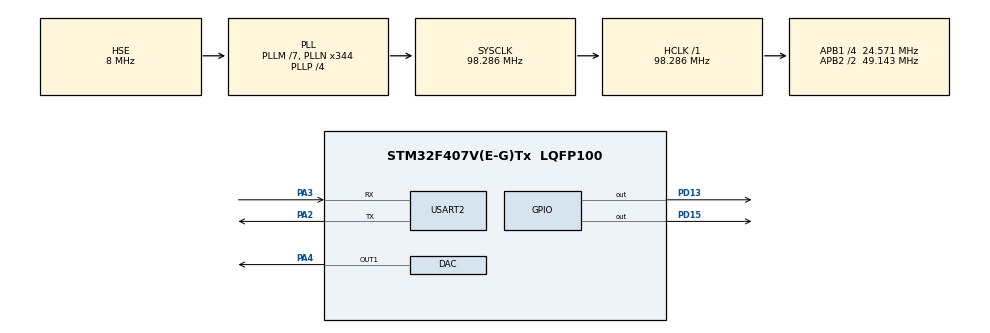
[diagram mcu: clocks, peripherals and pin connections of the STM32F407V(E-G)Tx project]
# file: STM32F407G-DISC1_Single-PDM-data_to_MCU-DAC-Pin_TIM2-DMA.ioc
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DAC.DAC_Trigger=DAC_TRIGGER_T6_TRGO
Dma.DAC1.0.Direction=DMA_MEMORY_TO_PERIPH
Dma.DAC1.0.FIFOMode=DMA_FIFOMODE_DISABLE
Dma.DAC1.0.Instance=DMA1_Stream5
Dma.DAC1.0.MemDataAlignment=DMA_MDATAALIGN_HALFWORD
Dma.DAC1.0.MemInc=DMA_MINC_ENABLE
Dma.DAC1.0.Mode=DMA_CIRCULAR
Dma.DAC1.0.PeriphDataAlignment=DMA_PDATAALIGN_HALFWORD
Dma.DAC1.0.PeriphInc=DMA_PINC_DISABLE
Dma.DAC1.0.Priority=DMA_PRIORITY_MEDIUM
Dma.Request0=DAC1
Mcu.Family=STM32F4
Mcu.Name=STM32F407V(E-G)Tx
Mcu.Package=LQFP100
NVIC.DMA1_Stream5_IRQn=true\:0\:0\:false\:false\:true\:false\:true\:true
NVIC.PriorityGroup=NVIC_PRIORITYGROUP_0
NVIC.TIM2_IRQn=true\:0\:0\:false\:false\:true\:true\:true\:true
NVIC.TIM6_DAC_IRQn=true\:0\:0\:false\:false\:true\:true\:true\:true
NVIC.TIM7_IRQn=true\:0\:0\:false\:false\:true\:true\:true\:true
PA13.Mode=Trace_Asynchronous_SW
PA13.Signal=SYS_JTMS-SWDIO
PA14.Mode=Trace_Asynchronous_SW
PA14.Signal=SYS_JTCK-SWCLK
PA2.Mode=Asynchronous
PA2.Signal=USART2_TX
PA3.Mode=Asynchronous
PA3.Signal=USART2_RX
PA4.Signal=COMP_DAC1_group
PA5.GPIO_Speed=GPIO_SPEED_FREQ_LOW
PA5.Signal=SPI1_SCK
PB10.GPIO_Speed=GPIO_SPEED_FREQ_LOW
PB10.Signal=SPI2_SCK
PB15.GPIO_Speed=GPIO_SPEED_FREQ_LOW
PB15.Signal=SPI2_MOSI
PB3.Mode=Trace_Asynchronous_SW
PB3.Signal=SYS_JTDO-SWO
PB4.GPIO_Speed=GPIO_SPEED_FREQ_LOW
PB4.Signal=SPI1_MISO
PB5.GPIO_Speed=GPIO_SPEED_FREQ_LOW
PB5.Signal=SPI1_MOSI
PD13.Signal=GPIO_Output
PD15.Signal=GPIO_Output
PDM2PCM.CHANNEL1_in_ptr_channels=1
PDM2PCM.CHANNEL1_out_ptr_channels=1
PDM2PCM.CHANNEL1_output_samples_number=250
PH0-OSC_IN.Mode=HSE-External-Oscillator
PH0-OSC_IN.Signal=RCC_OSC_IN
PH1-OSC_OUT.Mode=HSE-External-Oscillator
PH1-OSC_OUT.Signal=RCC_OSC_OUT
ProjectManager.HeapSize=0x200
ProjectManager.StackSize=0x400
ProjectManager.TargetToolchain=STM32CubeIDE
RCC.48MHZClocksFreq_Value=56163265.30612246
RCC.AHBFreq_Value=98285714.2857143
RCC.APB1CLKDivider=RCC_HCLK_DIV4
RCC.APB1Freq_Value=24571428.571428575
RCC.APB1TimFreq_Value=49142857.14285715
RCC.APB2CLKDivider=RCC_HCLK_DIV2
RCC.APB2Freq_Value=49142857.14285715
RCC.APB2TimFreq_Value=98285714.2857143
RCC.CortexFreq_Value=98285714.2857143
RCC.HCLKFreq_Value=98285714.2857143
RCC.HSE_VALUE=8000000
RCC.HSI_VALUE=16000000
RCC.LSE_VALUE=32768
RCC.PLLM=7
RCC.PLLN=344
RCC.PLLP=RCC_PLLP_DIV4
RCC.PLLQ=7
RCC.PLLSourceVirtual=RCC_PLLSOURCE_HSE
RCC.SYSCLKFreq_VALUE=98285714.2857143
RCC.SYSCLKSource=RCC_SYSCLKSOURCE_PLLCLK
RCC.VCOOutputFreq_Value=393142857.1428572
SH.COMP_DAC1_group.0=DAC_OUT1,DAC_OUT1
TIM2.AutoReloadPreload=TIM_AUTORELOAD_PRELOAD_ENABLE
TIM2.Period=250-1
TIM2.Prescaler=1024-1
TIM2.TIM_MasterOutputTrigger=TIM_TRGO_UPDATE
TIM6.AutoReloadPreload=TIM_AUTORELOAD_PRELOAD_ENABLE
TIM6.Period=64-1
TIM6.Prescaler=16-1
TIM6.TIM_MasterOutputTrigger=TIM_TRGO_UPDATE
TIM7.Period=250
TIM7.Prescaler=1024-1
TIM7.TIM_MasterOutputTrigger=TIM_TRGO_UPDATE
USART2.VirtualMode=VM_ASYNC
VP_CRC_VS_CRC.Mode=CRC_Activate
VP_PDM2PCM_VS_PDM2PCM.Mode=PDM2PCM_Channel
VP_TIM2_VS_ClockSourceINT.Mode=Internal
VP_TIM6_VS_ClockSourceINT.Mode=Enable_Timer
VP_TIM7_VS_ClockSourceINT.Mode=Enable_Timer
board=STM32F407G-DISC1

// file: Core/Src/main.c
/* USER CODE BEGIN Header */
/**
 ******************************************************************************
 * @file           : main.c
 * @brief          : Main program body
 ******************************************************************************
 * @attention
 *
 * <h2><center>&copy; Copyright (c) 2021 STMicroelectronics.
 * All rights reserved.</center></h2>
 *
 * This software component is licensed by ST under Ultimate Liberty license
 * SLA0044, the "License"; You may not use this file except in compliance with
 * the License. You may obtain a copy of the License at:
 *                             www.st.com/SLA0044
 *
 ******************************************************************************
 */
/* USER CODE END Header */
#include "main.h"
#include "pdm2pcm.h"

/* USER CODE BEGIN Includes */

#include <stdio.h>
#include "pdm_tones.h"

/* USER CODE END Includes */

 CRC_HandleTypeDef hcrc;

DAC_HandleTypeDef hdac;
DMA_HandleTypeDef hdma_dac1;

TIM_HandleTypeDef htim2;
TIM_HandleTypeDef htim6;
TIM_HandleTypeDef htim7;

UART_HandleTypeDef huart2;

/* USER CODE BEGIN PV */

uint8_t send_data2[30] = "SPI buffer test";
uint8_t receive_data2[1000];
uint8_t PDM_receive_data[2000];

uint8_t send_data1[30] = "SPI buffer test";
uint8_t receive_data1[30];

int16_t PCM_outBuffer[500];
uint16_t PCM_DAC_outBuffer[500];

/* USER CODE END PV */

void SystemClock_Config(void);
static void MX_GPIO_Init(void);
static void MX_USART2_UART_Init(void);
static void MX_DMA_Init(void);
static void MX_CRC_Init(void);
static void MX_DAC_Init(void);
static void MX_TIM6_Init(void);
static void MX_TIM2_Init(void);
static void MX_TIM7_Init(void);
/* USER CODE BEGIN PFP */

#define PUTCHAR_PROTOTYPE int __io_putchar(int ch)

/* USER CODE END PFP */

int main(void)
{

  /* MCU Configuration--------------------------------------------------------*/

  /* Reset of all peripherals, Initializes the Flash interface and the Systick. */
  HAL_Init();

  /* Configure the system clock */
  SystemClock_Config();

  /* Initialize all configured peripherals */
  MX_GPIO_Init();
  MX_USART2_UART_Init();
  MX_DMA_Init();
  MX_CRC_Init();
  MX_PDM2PCM_Init();
  MX_DAC_Init();
  MX_TIM6_Init();
  MX_TIM2_Init();
  MX_TIM7_Init();
  /* USER CODE BEGIN 2 */

  printf("Starting >> STM32F407G-DISC1_Single-PDM-data_to_MCU-DAC-Pin_TIM2-DMA \n");

	// first bit to MSB - 8bit tone "AA"
	for(uint16_t i = 0; i < sizeof(tone500HzA4_pdmdata) * 4; i++)
	{
		pdmBuffer8_8000bits_1000bytes_1[i >> 3] = 0x55;
		//		printf("i = %d,  i >>3 = %d, i mod sizeof(tone500HzA4_pdmdata) = %d \n",i, i >>3, i % sizeof(tone500HzA4_pdmdata));
	}

	// first bit to MSB - 8bit tone500Hz_pdmdata
	for(uint16_t i = 0; i < sizeof(tone500Hz_pdmdata) * 4; i++)
	{
		pdmBuffer8_8000bits_1000bytes_2[i >> 3] = (pdmBuffer8_8000bits_1000bytes_2[i >> 3] << 1) + tone500Hz_pdmdata[i % sizeof(tone500Hz_pdmdata)];
		//		printf("i = %d,  i >>3 = %d, i mod sizeof(tone500Hz_pdmdata) = %d \n",i, i >>3, i % sizeof(tone500Hz_pdmdata));
	}

	// first bit to MSB - 8bit tone500HzA4_pdmdata
	for(uint16_t i = 0; i < sizeof(tone500HzA4_pdmdata) * 4; i++)
	{
		pdmBuffer8_8000bits_1000bytes_3[i >> 3] = (pdmBuffer8_8000bits_1000bytes_3[i >> 3] << 1) + tone500HzA4_pdmdata[i % sizeof(tone500HzA4_pdmdata)];
		//		printf("i = %d,  i >>3 = %d, i mod sizeof(tone500HzA4_pdmdata) = %d \n",i, i >>3, i % sizeof(tone500HzA4_pdmdata));
	}

	for(uint16_t i = 0; i < 1000; i++)
	{
		pdmBuffer8_8000bits_4000bytes[i] = pdmBuffer8_8000bits_1000bytes_1[i];
	}

	for(uint16_t i = 0; i < 1000; i++)
	{
		pdmBuffer8_8000bits_4000bytes[i + 1000] = pdmBuffer8_8000bits_1000bytes_2[i];
	}

	for(uint16_t i = 0; i < 1000; i++)
	{
		pdmBuffer8_8000bits_4000bytes[i + 2000] = pdmBuffer8_8000bits_1000bytes_1[i];
	}

	for(uint16_t i = 0; i < 1000; i++)
	{
		pdmBuffer8_8000bits_4000bytes[i + 3000] = pdmBuffer8_8000bits_1000bytes_3[i];
	}

	GPIOD->BSRR = (1<<15); // Set
	PDM_Filter(&pdmBuffer8_8000bits_4000bytes[0],&PCM_outBuffer[0], &PDM1_filter_handler);
	GPIOD->BSRR  = (1<< (15 + 16) ); // Reset

	GPIOD->BSRR = (1<<15); // Set
	PDM_Filter(&pdmBuffer8_8000bits_4000bytes[2000],&PCM_outBuffer[250], &PDM1_filter_handler);
	GPIOD->BSRR  = (1<< (15 + 16) ); // Reset

	for (int cntr = 0; cntr < 500; cntr++) {
		PCM_DAC_outBuffer[cntr] = (PCM_outBuffer[cntr] >> 4) + 2048;
	}

  HAL_DAC_Start_DMA(&hdac, DAC_CHANNEL_1, (uint32_t*) PCM_DAC_outBuffer, 500, DAC_ALIGN_12B_R);

  HAL_TIM_Base_Start_IT(&htim6); //Start the timer

  HAL_Delay(100);

  printf("Ending >> STM32F407G-DISC1_Single-PDM-data_to_MCU-DAC-Pin_TIM2-DMA \n");

  /* USER CODE END 2 */

  /* Infinite loop */
	while (1)
	{

	}
}

void SystemClock_Config(void)
{
  RCC_OscInitTypeDef RCC_OscInitStruct = {0};
  RCC_ClkInitTypeDef RCC_ClkInitStruct = {0};

  /** Configure the main internal regulator output voltage
  */
  __HAL_RCC_PWR_CLK_ENABLE();
  __HAL_PWR_VOLTAGESCALING_CONFIG(PWR_REGULATOR_VOLTAGE_SCALE1);

  /** Initializes the RCC Oscillators according to the specified parameters
  * in the RCC_OscInitTypeDef structure.
  */
  RCC_OscInitStruct.OscillatorType = RCC_OSCILLATORTYPE_HSE;
  RCC_OscInitStruct.HSEState = RCC_HSE_ON;
  RCC_OscInitStruct.PLL.PLLState = RCC_PLL_ON;
  RCC_OscInitStruct.PLL.PLLSource = RCC_PLLSOURCE_HSE;
  RCC_OscInitStruct.PLL.PLLM = 7;
  RCC_OscInitStruct.PLL.PLLN = 344;
  RCC_OscInitStruct.PLL.PLLP = RCC_PLLP_DIV4;
  RCC_OscInitStruct.PLL.PLLQ = 7;
  if (HAL_RCC_OscConfig(&RCC_OscInitStruct) != HAL_OK)
  {
    Error_Handler();
  }

  /** Initializes the CPU, AHB and APB buses clocks
  */
  RCC_ClkInitStruct.ClockType = RCC_CLOCKTYPE_HCLK|RCC_CLOCKTYPE_SYSCLK
                              |RCC_CLOCKTYPE_PCLK1|RCC_CLOCKTYPE_PCLK2;
  RCC_ClkInitStruct.SYSCLKSource = RCC_SYSCLKSOURCE_PLLCLK;
  RCC_ClkInitStruct.AHBCLKDivider = RCC_SYSCLK_DIV1;
  RCC_ClkInitStruct.APB1CLKDivider = RCC_HCLK_DIV4;
  RCC_ClkInitStruct.APB2CLKDivider = RCC_HCLK_DIV2;

  if (HAL_RCC_ClockConfig(&RCC_ClkInitStruct, FLASH_LATENCY_3) != HAL_OK)
  {
    Error_Handler();
  }
}

static void MX_CRC_Init(void)
{

  hcrc.Instance = CRC;
  if (HAL_CRC_Init(&hcrc) != HAL_OK)
  {
    Error_Handler();
  }
  __HAL_CRC_DR_RESET(&hcrc);

}

static void MX_DAC_Init(void)
{

  DAC_ChannelConfTypeDef sConfig = {0};

  /** DAC Initialization
  */
  hdac.Instance = DAC;
  if (HAL_DAC_Init(&hdac) != HAL_OK)
  {
    Error_Handler();
  }

  /** DAC channel OUT1 config
  */
  sConfig.DAC_Trigger = DAC_TRIGGER_T6_TRGO;
  sConfig.DAC_OutputBuffer = DAC_OUTPUTBUFFER_ENABLE;
  if (HAL_DAC_ConfigChannel(&hdac, &sConfig, DAC_CHANNEL_1) != HAL_OK)
  {
    Error_Handler();
  }

}

static void MX_TIM2_Init(void)
{

  TIM_ClockConfigTypeDef sClockSourceConfig = {0};
  TIM_MasterConfigTypeDef sMasterConfig = {0};

  htim2.Instance = TIM2;
  htim2.Init.Prescaler = 1024-1;
  htim2.Init.CounterMode = TIM_COUNTERMODE_UP;
  htim2.Init.Period = 250-1;
  htim2.Init.ClockDivision = TIM_CLOCKDIVISION_DIV1;
  htim2.Init.AutoReloadPreload = TIM_AUTORELOAD_PRELOAD_ENABLE;
  if (HAL_TIM_Base_Init(&htim2) != HAL_OK)
  {
    Error_Handler();
  }
  sClockSourceConfig.ClockSource = TIM_CLOCKSOURCE_INTERNAL;
  if (HAL_TIM_ConfigClockSource(&htim2, &sClockSourceConfig) != HAL_OK)
  {
    Error_Handler();
  }
  sMasterConfig.MasterOutputTrigger = TIM_TRGO_UPDATE;
  sMasterConfig.MasterSlaveMode = TIM_MASTERSLAVEMODE_DISABLE;
  if (HAL_TIMEx_MasterConfigSynchronization(&htim2, &sMasterConfig) != HAL_OK)
  {
    Error_Handler();
  }

}

static void MX_TIM6_Init(void)
{

  TIM_MasterConfigTypeDef sMasterConfig = {0};

  htim6.Instance = TIM6;
  htim6.Init.Prescaler = 16-1;
  htim6.Init.CounterMode = TIM_COUNTERMODE_UP;
  htim6.Init.Period = 64-1;
  htim6.Init.AutoReloadPreload = TIM_AUTORELOAD_PRELOAD_ENABLE;
  if (HAL_TIM_Base_Init(&htim6) != HAL_OK)
  {
    Error_Handler();
  }
  sMasterConfig.MasterOutputTrigger = TIM_TRGO_UPDATE;
  sMasterConfig.MasterSlaveMode = TIM_MASTERSLAVEMODE_DISABLE;
  if (HAL_TIMEx_MasterConfigSynchronization(&htim6, &sMasterConfig) != HAL_OK)
  {
    Error_Handler();
  }

}

static void MX_TIM7_Init(void)
{

  TIM_MasterConfigTypeDef sMasterConfig = {0};

  htim7.Instance = TIM7;
  htim7.Init.Prescaler = 1024-1;
  htim7.Init.CounterMode = TIM_COUNTERMODE_UP;
  htim7.Init.Period = 250;
  htim7.Init.AutoReloadPreload = TIM_AUTORELOAD_PRELOAD_DISABLE;
  if (HAL_TIM_Base_Init(&htim7) != HAL_OK)
  {
    Error_Handler();
  }
  sMasterConfig.MasterOutputTrigger = TIM_TRGO_UPDATE;
  sMasterConfig.MasterSlaveMode = TIM_MASTERSLAVEMODE_DISABLE;
  if (HAL_TIMEx_MasterConfigSynchronization(&htim7, &sMasterConfig) != HAL_OK)
  {
    Error_Handler();
  }

}

static void MX_USART2_UART_Init(void)
{

  huart2.Instance = USART2;
  huart2.Init.BaudRate = 115200;
  huart2.Init.WordLength = UART_WORDLENGTH_8B;
  huart2.Init.StopBits = UART_STOPBITS_1;
  huart2.Init.Parity = UART_PARITY_NONE;
  huart2.Init.Mode = UART_MODE_TX_RX;
  huart2.Init.HwFlowCtl = UART_HWCONTROL_NONE;
  huart2.Init.OverSampling = UART_OVERSAMPLING_16;
  if (HAL_UART_Init(&huart2) != HAL_OK)
  {
    Error_Handler();
  }

}

static void MX_DMA_Init(void)
{

  /* DMA controller clock enable */
  __HAL_RCC_DMA1_CLK_ENABLE();

  /* DMA interrupt init */
  /* DMA1_Stream5_IRQn interrupt configuration */
  HAL_NVIC_SetPriority(DMA1_Stream5_IRQn, 0, 0);
  HAL_NVIC_EnableIRQ(DMA1_Stream5_IRQn);

}

static void MX_GPIO_Init(void)
{
  GPIO_InitTypeDef GPIO_InitStruct = {0};

  /* GPIO Ports Clock Enable */
  __HAL_RCC_GPIOH_CLK_ENABLE();
  __HAL_RCC_GPIOA_CLK_ENABLE();
  __HAL_RCC_GPIOB_CLK_ENABLE();
  __HAL_RCC_GPIOD_CLK_ENABLE();

  /*Configure GPIO pin Output Level */
  HAL_GPIO_WritePin(GPIOD, GPIO_PIN_13|GPIO_PIN_15, GPIO_PIN_RESET);

  /*Configure GPIO pin : PA5 */
  GPIO_InitStruct.Pin = GPIO_PIN_5;
  GPIO_InitStruct.Mode = GPIO_MODE_AF_PP;
  GPIO_InitStruct.Pull = GPIO_NOPULL;
  GPIO_InitStruct.Speed = GPIO_SPEED_FREQ_LOW;
  GPIO_InitStruct.Alternate = GPIO_AF5_SPI1;
  HAL_GPIO_Init(GPIOA, &GPIO_InitStruct);

  /*Configure GPIO pins : PB10 PB15 */
  GPIO_InitStruct.Pin = GPIO_PIN_10|GPIO_PIN_15;
  GPIO_InitStruct.Mode = GPIO_MODE_AF_PP;
  GPIO_InitStruct.Pull = GPIO_NOPULL;
  GPIO_InitStruct.Speed = GPIO_SPEED_FREQ_LOW;
  GPIO_InitStruct.Alternate = GPIO_AF5_SPI2;
  HAL_GPIO_Init(GPIOB, &GPIO_InitStruct);

  /*Configure GPIO pins : PD13 PD15 */
  GPIO_InitStruct.Pin = GPIO_PIN_13|GPIO_PIN_15;
  GPIO_InitStruct.Mode = GPIO_MODE_OUTPUT_PP;
  GPIO_InitStruct.Pull = GPIO_NOPULL;
  GPIO_InitStruct.Speed = GPIO_SPEED_FREQ_LOW;
  HAL_GPIO_Init(GPIOD, &GPIO_InitStruct);

  /*Configure GPIO pins : PB4 PB5 */
  GPIO_InitStruct.Pin = GPIO_PIN_4|GPIO_PIN_5;
  GPIO_InitStruct.Mode = GPIO_MODE_AF_PP;
  GPIO_InitStruct.Pull = GPIO_NOPULL;
  GPIO_InitStruct.Speed = GPIO_SPEED_FREQ_LOW;
  GPIO_InitStruct.Alternate = GPIO_AF5_SPI1;
  HAL_GPIO_Init(GPIOB, &GPIO_InitStruct);

}

/* USER CODE BEGIN 4 */

PUTCHAR_PROTOTYPE
{
	/* Place your implementation of fputc here */
	/* e.g. write a character to the LPUART1 and Loop until the end of transmission */
	HAL_UART_Transmit(&huart2, (uint8_t *)&ch, 1, 0xFFFF);

	return ch;
}

/* USER CODE END 4 */

void Error_Handler(void)
{
  /* USER CODE BEGIN Error_Handler_Debug */
	/* User can add his own implementation to report the HAL error return state */
	printf("Error_Handler \n");
	__disable_irq();
	while (1)
	{
	}
  /* USER CODE END Error_Handler_Debug */
}
